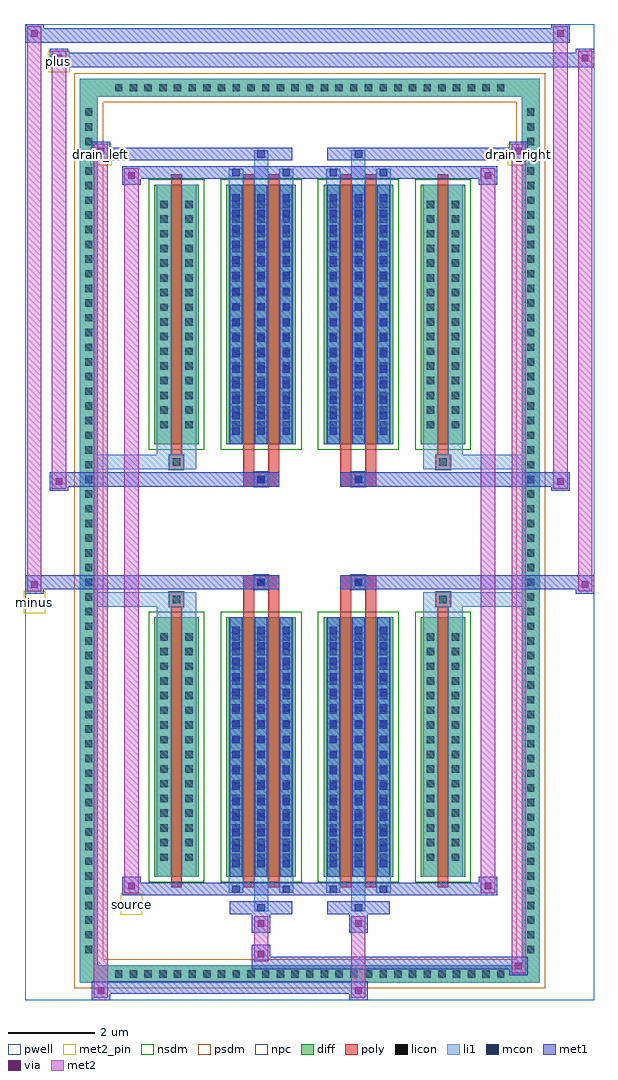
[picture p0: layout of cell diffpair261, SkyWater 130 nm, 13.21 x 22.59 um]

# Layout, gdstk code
import gdstk
lib = gdstk.Library(unit=1e-6, precision=5e-09)
def R(c, l, rs):  # rectangles x0, y0, x1, y1
    for r in rs: c.add(gdstk.rectangle(r[:2], r[2:], *l))
def A(c, l, x, y, w, h, nx, ny, dx, dy):  # array of equal rectangles
    R(c, l, [(x+i*dx, y+j*dy, x+i*dx+w, y+j*dy+h) for i in range(nx) for j in range(ny)])
def P(c, l, *ps):  # polygons
    for p in ps: c.add(gdstk.Polygon(p, *l))
pwell = (64, 44)
diff = (65, 20)
poly = (66, 20)
licon = (66, 44)
li1 = (67, 20)
mcon = (67, 44)
met1 = (68, 20)
via = (68, 44)
met2_pin = (69, 16)
met2 = (69, 20)
nsdm = (93, 44)
psdm = (94, 20)
npc = (95, 20)

diffpair261 = lib.new_cell('diffpair261')
R(diffpair261, pwell, [(-6.59,-10.86,6.59,11.73), (-3.91,-9.05,-0.01,-0.825), (0.01,-9.05,3.91,-0.825), (-3.91,0.825,-0.01,9.05), (0.01,0.825,3.91,9.05)])
A(diffpair261, diff, -4.625, -10.46, 0.41, 0.41, 27, 2, 0.34, 20.51)
A(diffpair261, diff, -5.32, -9.895, 0.41, 0.41, 1, 58, 0, 0.34)
A(diffpair261, diff, 4.91, -9.895, 0.41, 0.41, 1, 58, 0, 0.34)
R(diffpair261, diff, [(-4.625,-10.46,4.625,-10.05), (-5.32,-9.895,-4.91,9.895), (4.91,-9.895,5.32,9.895), (-3.6,-8.005,-2.57,-2.005), (-1.93,-8.005,-0.32,-2.005), (0.32,-8.005,1.93,-2.005), (2.57,-8.005,3.6,-2.005), (-3.6,2.005,-2.57,8.005), (-1.93,2.005,-0.32,8.005), (0.32,2.005,1.93,8.005), (2.57,2.005,3.6,8.005), (-4.625,10.05,4.625,10.46)])
P(diffpair261, diff, [(5.32,10.46),(-5.32,10.46),(-5.32,-10.05),(-4.91,-10.05),(-4.91,10.05),(4.91,10.05),(4.91,-10.05),(-4.91,-10.05),(-5.32,-10.05),(-5.32,-10.46),(5.32,-10.46)])
R(diffpair261, poly, [(-3.21,-8.255,-2.96,-1.755), (-1.54,-8.255,-1.29,-1.755), (-0.96,-8.255,-0.71,-1.755), (0.71,-8.255,0.96,-1.755), (1.29,-8.255,1.54,-1.755), (2.96,-8.255,3.21,-1.755), (-3.25,-1.755,-2.92,-1.425), (-3.25,-1.755,-2.92,-1.425), (-1.54,-1.755,-1.29,-1.355), (-0.96,-1.755,-0.71,-1.355), (0.71,-1.755,0.96,-1.355), (1.29,-1.755,1.54,-1.355), (2.92,-1.755,3.25,-1.425), (2.92,-1.755,3.25,-1.425), (-1.54,-1.355,-0.71,-1.025), (-1.29,-1.355,-0.96,-1.025), (0.71,-1.355,1.54,-1.025), (0.96,-1.355,1.29,-1.025), (-1.54,1.025,-0.71,1.355), (-1.29,1.025,-0.96,1.355), (0.71,1.025,1.54,1.355), (0.96,1.025,1.29,1.355), (-1.54,1.355,-1.29,1.755), (-0.96,1.355,-0.71,1.755), (0.71,1.355,0.96,1.755), (1.29,1.355,1.54,1.755), (-3.25,1.425,-2.92,1.755), (-3.25,1.425,-2.92,1.755), (2.92,1.425,3.25,1.755), (2.92,1.425,3.25,1.755), (-3.21,1.755,-2.96,8.255), (-1.54,1.755,-1.29,8.255), (-0.96,1.755,-0.71,8.255), (0.71,1.755,0.96,8.255), (1.29,1.755,1.54,8.255), (2.96,1.755,3.21,8.255)])
A(diffpair261, licon, -4.505, -10.34, 0.17, 0.17, 27, 2, 0.34, 20.51)
A(diffpair261, licon, -5.2, -9.775, 0.17, 0.17, 1, 58, 0, 0.34)
A(diffpair261, licon, 5.03, -9.775, 0.17, 0.17, 1, 58, 0, 0.34)
A(diffpair261, licon, -3.46, -7.64, 0.17, 0.17, 1, 16, 0, 0.34)
A(diffpair261, licon, -2.88, -7.64, 0.17, 0.17, 1, 16, 0, 0.34)
A(diffpair261, licon, -1.79, -7.64, 0.17, 0.17, 3, 16, 0.58, 0.34)
A(diffpair261, licon, 0.46, -7.64, 0.17, 0.17, 3, 16, 0.58, 0.34)
A(diffpair261, licon, 2.71, -7.64, 0.17, 0.17, 1, 16, 0, 0.34)
A(diffpair261, licon, 3.29, -7.64, 0.17, 0.17, 1, 16, 0, 0.34)
A(diffpair261, licon, -3.46, 2.37, 0.17, 0.17, 1, 16, 0, 0.34)
A(diffpair261, licon, -2.88, 2.37, 0.17, 0.17, 1, 16, 0, 0.34)
A(diffpair261, licon, -1.79, 2.37, 0.17, 0.17, 3, 16, 0.58, 0.34)
A(diffpair261, licon, 0.46, 2.37, 0.17, 0.17, 3, 16, 0.58, 0.34)
A(diffpair261, licon, 2.71, 2.37, 0.17, 0.17, 1, 16, 0, 0.34)
A(diffpair261, licon, 3.29, 2.37, 0.17, 0.17, 1, 16, 0, 0.34)
R(diffpair261, licon, [(-3.17,-1.675,-3,-1.505), (3,-1.675,3.17,-1.505), (-1.21,-1.275,-1.04,-1.105), (1.04,-1.275,1.21,-1.105), (-1.21,1.105,-1.04,1.275), (1.04,1.105,1.21,1.275), (-3.17,1.505,-3,1.675), (3,1.505,3.17,1.675)])
A(diffpair261, li1, -4.585, -10.42, 0.33, 0.33, 27, 2, 0.34, 20.51)
A(diffpair261, li1, -5.28, -9.855, 0.33, 0.33, 1, 58, 0, 0.34)
A(diffpair261, li1, 4.95, -9.855, 0.33, 0.33, 1, 58, 0, 0.34)
A(diffpair261, li1, -1.87, -8.005, 0.33, 6, 3, 2, 0.58, 10.01)
A(diffpair261, li1, 0.38, -8.005, 0.33, 6, 3, 2, 0.58, 10.01)
A(diffpair261, li1, -1.79, -7.79, 0.17, 0.17, 3, 16, 0.58, 0.36)
A(diffpair261, li1, -1.79, -7.79, 0.17, 5.57, 3, 2, 0.58, 10.01)
A(diffpair261, li1, 0.46, -7.79, 0.17, 0.17, 3, 16, 0.58, 0.36)
A(diffpair261, li1, 0.46, -7.79, 0.17, 5.57, 3, 2, 0.58, 10.01)
A(diffpair261, li1, -3.54, -7.72, 0.33, 0.33, 1, 16, 0, 0.34)
A(diffpair261, li1, -2.96, -7.72, 0.33, 0.33, 1, 16, 0, 0.34)
A(diffpair261, li1, -1.87, -7.72, 0.33, 0.33, 3, 16, 0.58, 0.34)
A(diffpair261, li1, 0.38, -7.72, 0.33, 0.33, 3, 16, 0.58, 0.34)
A(diffpair261, li1, 2.63, -7.72, 0.33, 0.33, 1, 16, 0, 0.34)
A(diffpair261, li1, 3.21, -7.72, 0.33, 0.33, 1, 16, 0, 0.34)
A(diffpair261, li1, -1.79, 2.22, 0.17, 0.17, 3, 16, 0.58, 0.36)
A(diffpair261, li1, 0.46, 2.22, 0.17, 0.17, 3, 16, 0.58, 0.36)
A(diffpair261, li1, -3.54, 2.29, 0.33, 0.33, 1, 16, 0, 0.34)
A(diffpair261, li1, -2.96, 2.29, 0.33, 0.33, 1, 16, 0, 0.34)
A(diffpair261, li1, -1.87, 2.29, 0.33, 0.33, 3, 16, 0.58, 0.34)
A(diffpair261, li1, 0.38, 2.29, 0.33, 0.33, 3, 16, 0.58, 0.34)
A(diffpair261, li1, 2.63, 2.29, 0.33, 0.33, 1, 16, 0, 0.34)
A(diffpair261, li1, 3.21, 2.29, 0.33, 0.33, 1, 16, 0, 0.34)
R(diffpair261, li1, [(-5.32,-10.46,-4.91,-10.05), (-5.32,-10.46,-4.91,-10.05), (-4.91,-10.46,4.91,-10.05), (4.91,-10.46,5.32,-10.05), (4.91,-10.46,5.32,-10.05), (-5.32,-10.05,-4.91,10.05), (4.91,-10.05,5.32,10.05), (-1.29,-8.81,-0.96,-8.005), (-1.21,-8.81,-1.04,-8.64), (0.96,-8.81,1.29,-8.005), (1.04,-8.81,1.21,-8.64), (-1.87,-8.38,-1.54,-8.005), (-1.79,-8.38,-1.62,-8.21), (-0.71,-8.38,-0.38,-8.005), (-0.63,-8.38,-0.46,-8.21), (0.38,-8.38,0.71,-8.005), (0.46,-8.38,0.63,-8.21), (1.54,-8.38,1.87,-8.005), (1.62,-8.38,1.79,-8.21), (-3.54,-8.005,-3.21,-2.005), (-2.96,-8.005,-2.63,-2.005), (2.63,-8.005,2.96,-2.005), (3.21,-8.005,3.54,-2.005), (-3.54,-2.005,-3.21,-1.425), (-2.96,-2.005,-2.63,-1.425), (2.63,-2.005,2.96,-1.425), (3.21,-2.005,3.54,-1.425), (-5.32,-1.755,-3.25,-1.425), (-3.54,-1.755,-3.25,-1.425), (-3.25,-1.755,-2.92,-1.425), (-2.92,-1.755,-2.63,-1.425), (2.63,-1.755,2.92,-1.425), (2.92,-1.755,3.25,-1.425), (2.92,-1.755,5.32,-1.425), (3.25,-1.755,3.54,-1.425), (-1.29,-1.355,-0.96,-1.025), (0.96,-1.355,1.29,-1.025), (-1.29,1.025,-0.96,1.355), (0.96,1.025,1.29,1.355), (-5.32,1.425,-3.25,1.755), (-3.54,1.425,-3.25,1.755), (-3.54,1.425,-3.21,2.005), (-3.25,1.425,-2.92,1.755), (-2.96,1.425,-2.63,2.005), (-2.92,1.425,-2.63,1.755), (2.63,1.425,2.92,1.755), (2.63,1.425,2.96,2.005), (2.92,1.425,3.25,1.755), (2.92,1.425,5.32,1.755), (3.21,1.425,3.54,2.005), (3.25,1.425,3.54,1.755), (-3.54,2.005,-3.21,8.005), (-2.96,2.005,-2.63,8.005), (2.63,2.005,2.96,8.005), (3.21,2.005,3.54,8.005), (-1.87,8.005,-1.54,8.38), (-1.29,8.005,-0.96,8.81), (-0.71,8.005,-0.38,8.38), (0.38,8.005,0.71,8.38), (0.96,8.005,1.29,8.81), (1.54,8.005,1.87,8.38), (-1.79,8.21,-1.62,8.38), (-0.63,8.21,-0.46,8.38), (0.46,8.21,0.63,8.38), (1.62,8.21,1.79,8.38), (-1.21,8.64,-1.04,8.81), (1.04,8.64,1.21,8.81), (-5.32,10.05,-4.91,10.46), (-5.32,10.05,-4.91,10.46), (-4.91,10.05,4.91,10.46), (4.91,10.05,5.32,10.46), (4.91,10.05,5.32,10.46)])
A(diffpair261, mcon, -1.79, -7.79, 0.17, 0.17, 3, 16, 0.58, 0.36)
A(diffpair261, mcon, 0.46, -7.79, 0.17, 0.17, 3, 16, 0.58, 0.36)
A(diffpair261, mcon, -1.79, 2.22, 0.17, 0.17, 3, 16, 0.58, 0.36)
A(diffpair261, mcon, 0.46, 2.22, 0.17, 0.17, 3, 16, 0.58, 0.36)
R(diffpair261, mcon, [(-1.21,-8.81,-1.04,-8.64), (1.04,-8.81,1.21,-8.64), (-1.79,-8.38,-1.62,-8.21), (-0.63,-8.38,-0.46,-8.21), (0.46,-8.38,0.63,-8.21), (1.62,-8.38,1.79,-8.21), (-1.21,-1.275,-1.04,-1.105), (1.04,-1.275,1.21,-1.105), (-1.21,1.105,-1.04,1.275), (1.04,1.105,1.21,1.275), (-1.79,8.21,-1.62,8.38), (-0.63,8.21,-0.46,8.38), (0.46,8.21,0.63,8.38), (1.62,8.21,1.79,8.38), (-1.21,8.64,-1.04,8.81), (1.04,8.64,1.21,8.81)])
A(diffpair261, met1, -1.85, -8.005, 0.29, 6, 3, 2, 0.58, 10.01)
A(diffpair261, met1, 0.4, -8.005, 0.29, 6, 3, 2, 0.58, 10.01)
A(diffpair261, met1, -1.85, -7.85, 0.29, 0.29, 3, 16, 0.58, 0.36)
A(diffpair261, met1, 0.4, -7.85, 0.29, 0.29, 3, 16, 0.58, 0.36)
A(diffpair261, met1, -1.85, 2.16, 0.29, 0.29, 3, 16, 0.58, 0.36)
A(diffpair261, met1, 0.4, 2.16, 0.29, 0.29, 3, 16, 0.58, 0.36)
R(diffpair261, met1, [(-5.05,-10.86,-4.62,-10.43), (0.91,-10.86,1.34,-10.43), (-5.05,-10.72,1.34,-10.43), (4.62,-10.29,5.05,-9.86), (-1.34,-10.15,5.05,-9.86), (-1.34,-10.01,-0.91,-9.58), (-1.34,-9.3,-0.91,-8.87), (0.91,-9.3,1.34,-8.87), (-1.85,-8.87,-0.4,-8.58), (-1.27,-8.87,-0.98,-8.58), (0.4,-8.87,1.85,-8.58), (0.98,-8.87,1.27,-8.58), (-4.34,-8.44,-3.91,-8.01), (-4.34,-8.44,-1.85,-8.15), (-1.85,-8.44,-1.56,-8.15), (-1.85,-8.44,-0.4,-8.15), (-0.69,-8.44,-0.4,-8.15), (-0.4,-8.44,0.4,-8.15), (0.4,-8.44,0.69,-8.15), (0.4,-8.44,1.85,-8.15), (1.56,-8.44,1.85,-8.15), (1.85,-8.44,4.34,-8.15), (3.91,-8.44,4.34,-8.01), (-6.59,-1.455,-6.16,-1.025), (6.16,-1.455,6.59,-1.025), (-6.59,-1.355,-0.71,-1.025), (-1.54,-1.355,-0.71,-1.025), (0.71,-1.355,1.54,-1.025), (0.71,-1.355,6.59,-1.025), (-1.27,-1.335,-0.98,-1.045), (0.98,-1.335,1.27,-1.045), (-6.02,0.925,-5.59,1.355), (5.59,0.925,6.02,1.355), (-6.02,1.025,-1.54,1.355), (-1.54,1.025,-0.71,1.355), (0.71,1.025,1.54,1.355), (1.54,1.025,6.02,1.355), (-1.27,1.045,-0.98,1.335), (0.98,1.045,1.27,1.335), (-4.34,8.01,-3.91,8.44), (3.91,8.01,4.34,8.44), (-4.34,8.15,-1.85,8.44), (-1.85,8.15,-1.56,8.44), (-1.85,8.15,-0.4,8.44), (-0.69,8.15,-0.4,8.44), (-0.4,8.15,0.4,8.44), (0.4,8.15,0.69,8.44), (0.4,8.15,1.85,8.44), (1.56,8.15,1.85,8.44), (1.85,8.15,4.34,8.44), (-5.05,8.58,-4.62,9.01), (-5.05,8.58,-1.85,8.87), (-1.85,8.58,-0.4,8.87), (-1.27,8.58,-0.98,8.87), (0.4,8.58,1.85,8.87), (0.98,8.58,1.27,8.87), (1.85,8.58,5.05,8.87), (4.62,8.58,5.05,9.01), (-6.02,10.73,-5.59,11.16), (-6.02,10.73,-3.91,11.06), (-3.91,10.73,3.91,11.06), (3.91,10.73,6.59,11.06), (6.16,10.73,6.59,11.16), (-6.59,11.3,-6.16,11.73), (-6.59,11.3,-3.91,11.63), (-3.91,11.3,3.91,11.63), (3.91,11.3,6.02,11.63), (5.59,11.3,6.02,11.73)])
R(diffpair261, via, [(-4.91,-10.72,-4.76,-10.57), (1.05,-10.72,1.2,-10.57), (4.76,-10.15,4.91,-10), (-1.2,-9.87,-1.05,-9.72), (-1.2,-9.16,-1.05,-9.01), (1.05,-9.16,1.2,-9.01), (-4.2,-8.3,-4.05,-8.15), (4.05,-8.3,4.2,-8.15), (-6.45,-1.315,-6.3,-1.165), (6.3,-1.315,6.45,-1.165), (-5.88,1.065,-5.73,1.215), (5.73,1.065,5.88,1.215), (-4.2,8.15,-4.05,8.3), (4.05,8.15,4.2,8.3), (-4.91,8.72,-4.76,8.87), (4.76,8.72,4.91,8.87), (-5.88,10.87,-5.73,11.02), (6.3,10.87,6.45,11.02), (-6.45,11.44,-6.3,11.59), (5.73,11.44,5.88,11.59)])
R(diffpair261, met2_pin, [(-4.375,-8.89,-3.875,-8.39), (-6.625,-1.905,-6.125,-1.405), (-5.085,8.46,-4.585,8.96), (4.585,8.46,5.085,8.96), (-6.055,10.61,-5.555,11.11)])
R(diffpair261, met2, [(-5,-10.81,-4.67,-10.48), (-5,-10.81,-4.67,8.96), (0.96,-10.81,1.29,-10.48), (0.96,-10.48,1.29,-9.25), (4.67,-10.24,5,-9.91), (4.67,-10.24,5,8.96), (-1.29,-9.96,-0.96,-9.63), (-1.29,-9.63,-0.96,-9.25), (-1.29,-9.25,-0.96,-8.92), (0.96,-9.25,1.29,-8.92), (-4.29,-8.39,-3.96,-8.06), (-4.29,-8.39,-3.96,8.39), (3.96,-8.39,4.29,-8.06), (3.96,-8.39,4.29,8.39), (-6.54,-1.405,-6.21,-1.075), (-6.54,-1.405,-6.21,11.68), (6.21,-1.405,6.54,-1.075), (6.21,-1.405,6.54,11.11), (-5.97,0.975,-5.64,1.305), (-5.97,0.975,-5.64,11.11), (5.64,0.975,5.97,1.305), (5.64,0.975,5.97,11.68), (-4.29,8.06,-3.96,8.39), (3.96,8.06,4.29,8.39), (-5,8.63,-4.67,8.96), (4.67,8.63,5,8.96), (-5.97,10.78,-5.64,11.11), (6.21,10.78,6.54,11.11), (-6.54,11.35,-6.21,11.68), (5.64,11.35,5.97,11.68)])
P(diffpair261, met2, [(6.54,-1.405),(6.54,-1.405),(6.54,-1.075),(6.54,-1.075)],
  [(6.54,10.78),(6.54,10.78),(6.54,11.11),(6.54,11.11)],
  [(-6.21,-1.405),(-6.21,-1.405),(-6.21,-1.075),(-6.21,-1.075)],
  [(-6.21,11.35),(-6.21,11.35),(-6.21,11.68),(-6.21,11.68)],
  [(5.97,0.975),(5.97,0.975),(5.97,1.305),(5.97,1.305)],
  [(5.97,11.35),(5.97,11.35),(5.97,11.68),(5.97,11.68)],
  [(-5.64,0.975),(-5.64,0.975),(-5.64,1.305),(-5.64,1.305)],
  [(-5.64,10.78),(-5.64,10.78),(-5.64,11.11),(-5.64,11.11)],
  [(-4.67,-10.81),(-4.67,-10.81),(-4.67,-10.48),(-4.67,-10.48)],
  [(-4.67,8.63),(-4.67,8.63),(-4.67,8.96),(-4.67,8.96)],
  [(5,-10.24),(5,-10.24),(5,-9.91),(5,-9.91)],
  [(5,8.63),(5,8.63),(5,8.96),(5,8.96)],
  [(-3.96,-8.39),(-3.96,-8.39),(-3.96,-8.06),(-3.96,-8.06)],
  [(-3.96,8.06),(-3.96,8.06),(-3.96,8.39),(-3.96,8.39)],
  [(4.29,-8.39),(4.29,-8.39),(4.29,-8.06),(4.29,-8.06)],
  [(4.29,8.06),(4.29,8.06),(4.29,8.39),(4.29,8.39)])
R(diffpair261, nsdm, [(-3.73,-8.135,-2.44,-1.875), (-2.06,-8.135,-0.19,-1.875), (0.19,-8.135,2.06,-1.875), (2.44,-8.135,3.73,-1.875), (-3.73,1.875,-2.44,8.135), (-2.06,1.875,-0.19,8.135), (0.19,1.875,2.06,8.135), (2.44,1.875,3.73,8.135)])
P(diffpair261, psdm, [(5.45,10.59),(-5.45,10.59),(-5.45,-9.92),(-4.78,-9.92),(-4.78,9.92),(4.78,9.92),(4.78,-9.92),(-4.78,-9.92),(-5.45,-9.92),(-5.45,-10.59),(5.45,-10.59)])
R(diffpair261, npc, [(-3.27,-1.775,-2.9,-1.405), (2.9,-1.775,3.27,-1.405), (-1.31,-1.375,-0.94,-1.005), (0.94,-1.375,1.31,-1.005), (-1.31,1.005,-0.94,1.375), (0.94,1.005,1.31,1.375), (-3.27,1.405,-2.9,1.775), (2.9,1.405,3.27,1.775)])
diffpair261.add(gdstk.Label('minus', (-6.375,-1.655), layer=69, texttype=5))
diffpair261.add(gdstk.Label('drain_right', (4.835,8.71), layer=69, texttype=5))
diffpair261.add(gdstk.Label('drain_left', (-4.835,8.71), layer=69, texttype=5))
diffpair261.add(gdstk.Label('source', (-4.125,-8.64), layer=69, texttype=5))
diffpair261.add(gdstk.Label('plus', (-5.805,10.86), layer=69, texttype=5))

lib.write_gds('diffpair261.gds')
